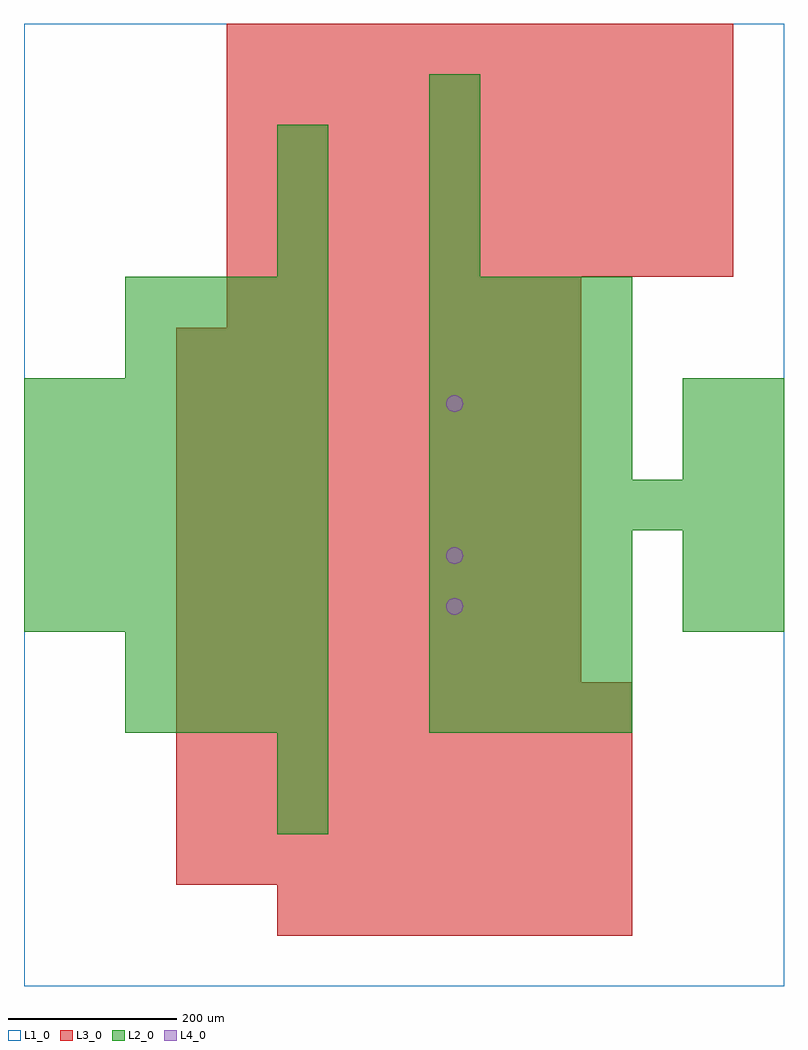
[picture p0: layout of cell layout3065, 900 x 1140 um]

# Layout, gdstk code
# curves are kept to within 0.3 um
import gdstk
lib = gdstk.Library(unit=1e-6, precision=1e-09)
def R(c, l, rs):  # rectangles x0, y0, x1, y1
    for r in rs: c.add(gdstk.rectangle(r[:2], r[2:], *l))
def A(c, l, x, y, w, h, nx, ny, dx, dy):  # array of equal rectangles
    R(c, l, [(x+i*dx, y+j*dy, x+i*dx+w, y+j*dy+h) for i in range(nx) for j in range(ny)])
def P(c, l, *ps):  # polygons
    for p in ps: c.add(gdstk.Polygon(p, *l))
L1_0 = (1, 0)
L2_0 = (2, 0)
L3_0 = (3, 0)
L4_0 = (4, 0)

layout3065 = lib.new_cell('layout3065')
R(layout3065, L1_0, [(0,0,900,1140)])
A(layout3065, L2_0, 120, 300, 60, 60, 4, 2, 60, 60)
A(layout3065, L2_0, 480, 300, 60, 60, 4, 4, 60, 60)
A(layout3065, L2_0, 0, 420, 60, 60, 6, 5, 60, 60)
A(layout3065, L2_0, 480, 540, 60, 60, 7, 1, 60, 0)
A(layout3065, L2_0, 480, 600, 60, 60, 4, 4, 60, 60)
A(layout3065, L2_0, 120, 720, 60, 60, 4, 2, 60, 60)
A(layout3065, L2_0, 300, 840, 60, 60, 1, 3, 0, 60)
A(layout3065, L2_0, 480, 840, 60, 60, 1, 4, 0, 60)
R(layout3065, L2_0, [(300,180,360,240), (300,240,360,300), (780,420,840,480), (840,420,900,480), (780,480,840,540), (840,480,900,540), (780,600,840,660), (840,600,900,660), (780,660,840,720), (840,660,900,720)])
A(layout3065, L3_0, 300, 60, 60, 60, 7, 1, 60, 0)
A(layout3065, L3_0, 180, 120, 60, 60, 9, 4, 60, 60)
A(layout3065, L3_0, 180, 360, 60, 60, 8, 7, 60, 60)
A(layout3065, L3_0, 240, 780, 60, 60, 7, 1, 60, 0)
A(layout3065, L3_0, 240, 840, 60, 60, 10, 5, 60, 60)
P(layout3065, L4_0, [(520,450),(519.239,453.827),(517.071,457.071),(513.827,459.239),(510,460),(506.173,459.239),(502.929,457.071),(500.761,453.827),(500,450),(500.761,446.173),(502.929,442.929),(506.173,440.761),(510,440),(513.827,440.761),(517.071,442.929),(519.239,446.173)],
  [(520,510),(519.239,513.827),(517.071,517.071),(513.827,519.239),(510,520),(506.173,519.239),(502.929,517.071),(500.761,513.827),(500,510),(500.761,506.173),(502.929,502.929),(506.173,500.761),(510,500),(513.827,500.761),(517.071,502.929),(519.239,506.173)],
  [(520,690),(519.239,693.827),(517.071,697.071),(513.827,699.239),(510,700),(506.173,699.239),(502.929,697.071),(500.761,693.827),(500,690),(500.761,686.173),(502.929,682.929),(506.173,680.761),(510,680),(513.827,680.761),(517.071,682.929),(519.239,686.173)])

lib.write_gds('layout3065.gds')
